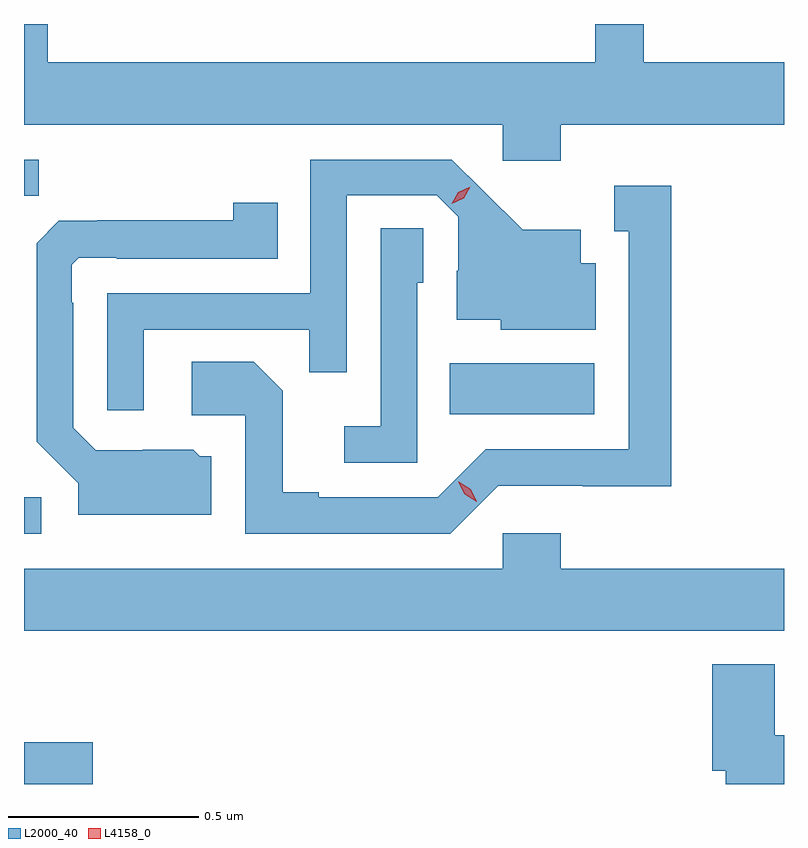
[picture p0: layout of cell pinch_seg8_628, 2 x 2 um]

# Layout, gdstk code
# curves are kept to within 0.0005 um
import gdstk
lib = gdstk.Library(unit=1e-6, precision=1e-09)
def R(c, l, rs):  # rectangles x0, y0, x1, y1
    for r in rs: c.add(gdstk.rectangle(r[:2], r[2:], *l))
def P(c, l, *ps):  # polygons
    for p in ps: c.add(gdstk.Polygon(p, *l))
L2000_40 = (2000, 40)
L4158_0 = (4158, 0)

pinch_seg8_628 = lib.new_cell('pinch_seg8_628')
R(pinch_seg8_628, L2000_40, [(157.116,1098.781,157.297,1098.891), (157.116,1099.44,157.162,1099.536), (158.236,1099.754,158.617,1099.888), (157.116,1100.329,157.155,1100.424)])
P(pinch_seg8_628, L2000_40, [(158.528,1100.516),(159.116,1100.516),(159.116,1100.68),(158.747,1100.68),(158.747,1100.781),(158.619,1100.781),(158.619,1100.68),(157.178,1100.68),(157.178,1100.781),(157.116,1100.781),(157.116,1100.516),(158.376,1100.516),(158.376,1100.421),(158.528,1100.421)],
  [(157.431,1099.977),(157.867,1099.977),(157.867,1099.864),(157.965,1099.864),(157.965,1100.331),(158.202,1100.331),(158.259,1100.274),(158.259,1100.132),(158.255,1100.132),(158.255,1100.003),(158.37,1100.003),(158.37,1099.976),(158.62,1099.976),(158.62,1100.152),(158.581,1100.152),(158.581,1100.239),(158.429,1100.239),(158.242,1100.424),(157.869,1100.424),(157.869,1100.073),(157.335,1100.073),(157.335,1099.764),(157.431,1099.764)],
  [(158.364,1099.566),(158.586,1099.566),(158.586,1099.565),(158.819,1099.565),(158.819,1100.356),(158.669,1100.356),(158.669,1100.235),(158.708,1100.235),(158.708,1099.662),(158.331,1099.662),(158.205,1099.536),(157.891,1099.536),(157.891,1099.549),(157.797,1099.549),(157.797,1099.816),(157.721,1099.892),(157.557,1099.892),(157.557,1099.752),(157.698,1099.752),(157.698,1099.44),(158.238,1099.44)],
  [(157.609,1099.644),(157.578,1099.644),(157.562,1099.66),(157.428,1099.66),(157.428,1099.659),(157.305,1099.659),(157.245,1099.719),(157.245,1100.048),(157.242,1100.048),(157.242,1100.148),(157.26,1100.166),(157.36,1100.166),(157.36,1100.163),(157.784,1100.163),(157.784,1100.311),(157.666,1100.311),(157.666,1100.264),(157.309,1100.264),(157.309,1100.263),(157.208,1100.263),(157.149,1100.204),(157.149,1099.682),(157.259,1099.572),(157.259,1099.49),(157.609,1099.49)],
  [(158.151,1100.1),(158.166,1100.1),(158.166,1100.243),(158.055,1100.243),(158.055,1099.723),(157.959,1099.723),(157.959,1099.626),(158.151,1099.626)],
  [(159.116,1099.348),(158.528,1099.348),(158.528,1099.441),(158.376,1099.441),(158.376,1099.348),(157.116,1099.348),(157.116,1099.184),(159.116,1099.184)],
  [(159.116,1098.909),(159.091,1098.909),(159.091,1099.096),(158.927,1099.096),(158.927,1098.816),(158.963,1098.816),(158.963,1098.781),(159.116,1098.781)])
P(pinch_seg8_628, L4158_0, [(158.307,1099.524),(158.276,1099.544),(158.259,1099.576),(158.259,1099.577),(158.26,1099.577),(158.291,1099.557),(158.308,1099.525),(158.308,1099.524)],
  [(158.242,1100.308),(158.242,1100.308),(158.259,1100.338),(158.29,1100.353),(158.29,1100.353),(158.29,1100.353),(158.273,1100.323),(158.242,1100.308)])

lib.write_gds('pinch_seg8_628.gds')
